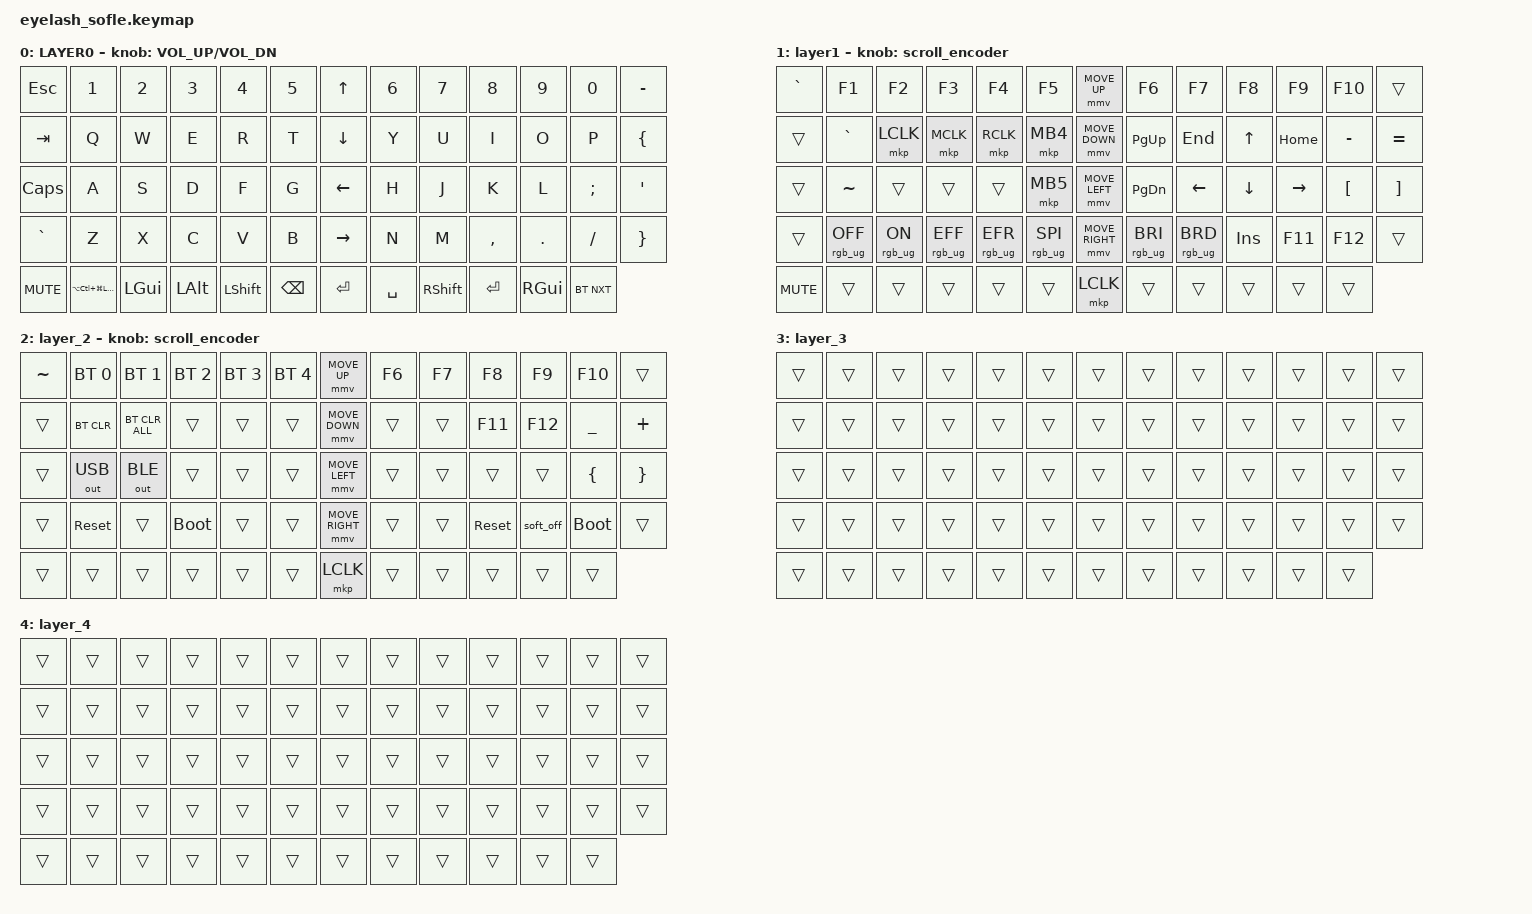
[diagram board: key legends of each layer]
#define ZMK_POINTING_DEFAULT_MOVE_VAL 1200  // 600
#define ZMK_POINTING_DEFAULT_SCRL_VAL 25   // 10

#include <input/processors.dtsi>
#include <zephyr/dt-bindings/input/input-event-codes.h>
#include <behaviors.dtsi>
#include <dt-bindings/zmk/bt.h>
#include <dt-bindings/zmk/keys.h>
#include <dt-bindings/zmk/outputs.h>
#include <dt-bindings/zmk/pointing.h>
#include <dt-bindings/zmk/rgb.h>

&mmv_input_listener { input-processors = <&zip_xy_scaler 2 1>; };

&msc_input_listener { input-processors = <&zip_scroll_scaler 2 1>; };

&msc {
    acceleration-exponent = <1>;      // 0
    time-to-max-speed-ms = <100>;       // 300
    delay-ms = <0>;                   // 0
};

&mmv {
    time-to-max-speed-ms = <500>;
    acceleration-exponent = <1>;
    trigger-period-ms = <16>;
};

/ {
    scroll_encoder: scroll_encoder {
        compatible = "zmk,behavior-sensor-rotate";
        #sensor-binding-cells = <0>;
        bindings = <&msc SCRL_DOWN>, <&msc SCRL_UP>;

        tap-ms = <100>;
    };

    combos {
        compatible = "zmk,combos";

        Leaderkey {
            bindings = <&kp RG(LEFT_GUI)>;
            key-positions = <57 59>;
            layers = <0 1 2 3>;
        };

        Antinote {
            bindings = <&kp LC(LA(A))>;
            key-positions = <56 60>;
        };

        Layer_1 {
            bindings = <&to 1>;
            key-positions = <53 63>;
            layers = <0>;
        };

        Layer_0 {
            bindings = <&to 0>;
            key-positions = <53 63>;
            layers = <1>;
        };
    };

    behaviors {
    };

    keymap {
        compatible = "zmk,keymap";

        layer0 {
            bindings = <
&kp ESC     &kp N1                      &kp N2        &kp N3        &kp N4          &kp N5           &kp UP_ARROW     &kp N6     &kp N7           &kp N8     &kp N9         &kp N0      &kp MINUS
&kp TAB     &kp Q                       &kp W         &kp E         &kp R           &kp T            &kp DOWN_ARROW   &kp Y      &kp U            &kp I      &kp O          &kp P       &kp LEFT_BRACE
&kp CAPS    &kp A                       &kp S         &kp D         &kp F           &kp G            &kp LEFT_ARROW   &kp H      &kp J            &kp K      &kp L          &kp SEMI    &kp APOS
&kp GRAVE   &kp Z                       &kp X         &kp C         &kp V           &kp B            &kp RIGHT_ARROW  &kp N      &kp M            &kp COMMA  &kp DOT        &kp FSLH    &kp RIGHT_BRACE
&kp C_MUTE  &kp LA(LC(LG(LEFT_SHIFT)))  &kp LEFT_GUI  &kp LEFT_ALT  &kp LEFT_SHIFT  &kp BACKSPACE    &kp ENTER        &kp SPACE  &kp RIGHT_SHIFT  &kp RET    &kp RIGHT_GUI  &bt BT_NXT
            >;

            sensor-bindings = <&inc_dec_kp C_VOLUME_UP C_VOL_DN>;
            display-name = "LAYER0";
        };

        layer_1 {
            bindings = <
&kp GRAVE   &kp F1           &kp F2          &kp F3           &kp F4           &kp F5             &mmv MOVE_UP     &kp F6           &kp F7           &kp F8      &kp F9     &kp F10           &trans
&trans      &kp GRAVE        &mkp LCLK       &mkp MCLK        &mkp RCLK        &mkp MB4           &mmv MOVE_DOWN   &kp PG_UP        &kp END          &kp UP      &kp HOME   &kp MINUS         &kp EQUAL
&trans      &kp TILDE        &trans          &trans           &trans           &mkp MB5           &mmv MOVE_LEFT   &kp PG_DN        &kp LEFT         &kp DOWN    &kp RIGHT  &kp LEFT_BRACKET  &kp RIGHT_BRACKET
&trans      &rgb_ug RGB_OFF  &rgb_ug RGB_ON  &rgb_ug RGB_EFF  &rgb_ug RGB_EFR  &rgb_ug RGB_SPI    &mmv MOVE_RIGHT  &rgb_ug RGB_BRI  &rgb_ug RGB_BRD  &kp INSERT  &kp F11    &kp F12           &trans
&kp C_MUTE  &trans           &trans          &trans           &trans           &trans             &mkp LCLK        &trans           &trans           &trans      &trans     &trans
            >;

            display-name = "layer1";
            sensor-bindings = <&scroll_encoder>;
        };

        layer_2 {
            bindings = <
&kp TILDE  &bt BT_SEL 0  &bt BT_SEL 1    &bt BT_SEL 2  &bt BT_SEL 3  &bt BT_SEL 4    &mmv MOVE_UP     &kp F6  &kp F7  &kp F8      &kp F9     &kp F10      &trans
&trans     &bt BT_CLR    &bt BT_CLR_ALL  &trans        &trans        &trans          &mmv MOVE_DOWN   &trans  &trans  &kp F11     &kp F12    &kp UNDER    &kp PLUS
&trans     &out OUT_USB  &out OUT_BLE    &trans        &trans        &trans          &mmv MOVE_LEFT   &trans  &trans  &trans      &trans     &kp LBRC     &kp RBRC
&trans     &sys_reset    &trans          &bootloader   &trans        &trans          &mmv MOVE_RIGHT  &trans  &trans  &sys_reset  &soft_off  &bootloader  &trans
&trans     &trans        &trans          &trans        &trans        &trans          &mkp LCLK        &trans  &trans  &trans      &trans     &trans
            >;

            sensor-bindings = <&scroll_encoder>;
        };

        layer_3 {
            bindings = <
&trans  &trans  &trans  &trans  &trans  &trans    &trans  &trans  &trans  &trans  &trans  &trans  &trans
&trans  &trans  &trans  &trans  &trans  &trans    &trans  &trans  &trans  &trans  &trans  &trans  &trans
&trans  &trans  &trans  &trans  &trans  &trans    &trans  &trans  &trans  &trans  &trans  &trans  &trans
&trans  &trans  &trans  &trans  &trans  &trans    &trans  &trans  &trans  &trans  &trans  &trans  &trans
&trans  &trans  &trans  &trans  &trans  &trans    &trans  &trans  &trans  &trans  &trans  &trans
            >;
        };

        layer_4 {
            bindings = <
&trans  &trans  &trans  &trans  &trans  &trans    &trans  &trans  &trans  &trans  &trans  &trans  &trans
&trans  &trans  &trans  &trans  &trans  &trans    &trans  &trans  &trans  &trans  &trans  &trans  &trans
&trans  &trans  &trans  &trans  &trans  &trans    &trans  &trans  &trans  &trans  &trans  &trans  &trans
&trans  &trans  &trans  &trans  &trans  &trans    &trans  &trans  &trans  &trans  &trans  &trans  &trans
&trans  &trans  &trans  &trans  &trans  &trans    &trans  &trans  &trans  &trans  &trans  &trans
            >;
        };
    };
};
